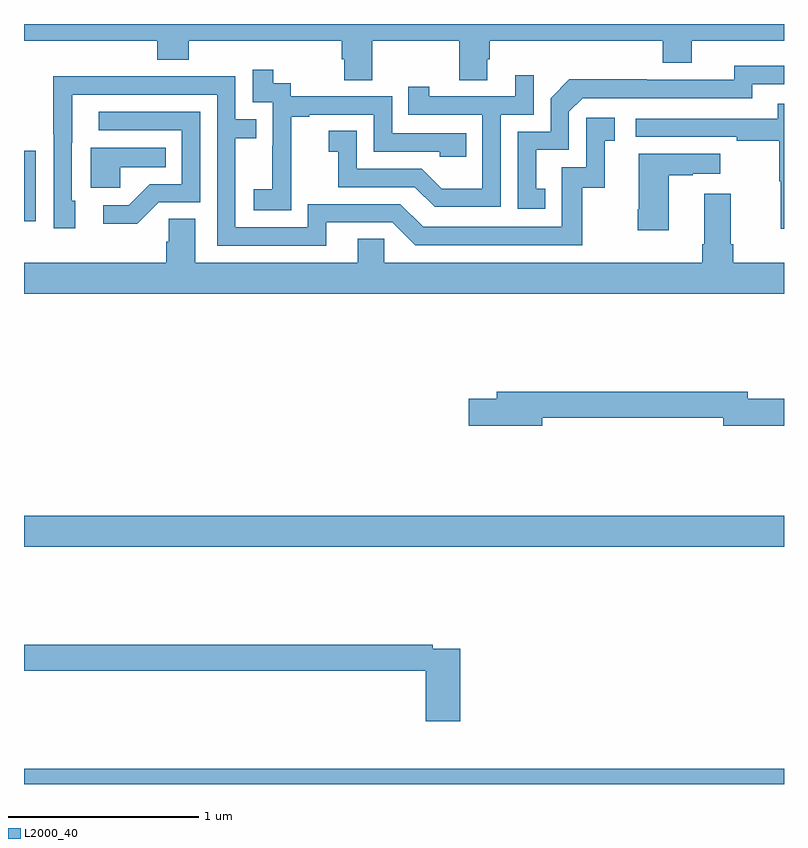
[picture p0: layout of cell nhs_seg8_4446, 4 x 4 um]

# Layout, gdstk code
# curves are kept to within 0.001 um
import gdstk
lib = gdstk.Library(unit=1e-6, precision=1e-09)
def R(c, l, rs):  # rectangles x0, y0, x1, y1
    for r in rs: c.add(gdstk.rectangle(r[:2], r[2:], *l))
def P(c, l, *ps):  # polygons
    for p in ps: c.add(gdstk.Polygon(p, *l))
L2000_40 = (2000, 40)

nhs_seg8_4446 = lib.new_cell('nhs_seg8_4446')
R(nhs_seg8_4446, L2000_40, [(381,1133.9,385,1133.98), (381,1135.148,385,1135.312), (381,1136.862,381.063,1137.232)])
P(nhs_seg8_4446, L2000_40, [(381,1137.812),(381.701,1137.812),(381.701,1137.713),(381.866,1137.713),(381.866,1137.812),(382.673,1137.812),(382.673,1137.714),(382.685,1137.714),(382.685,1137.604),(382.833,1137.604),(382.833,1137.812),(383.29,1137.812),(383.29,1137.604),(383.437,1137.604),(383.437,1137.714),(383.45,1137.714),(383.45,1137.812),(384.362,1137.812),(384.362,1137.695),(384.514,1137.695),(384.514,1137.812),(385,1137.812),(385,1137.9),(381,1137.9)],
  [(383.744,1137.033),(383.695,1137.033),(383.695,1137.237),(383.868,1137.237),(383.868,1137.438),(383.94,1137.51),(384.834,1137.51),(384.834,1137.582),(385,1137.582),(385,1137.679),(384.738,1137.679),(384.738,1137.606),(384.278,1137.606),(384.278,1137.608),(383.87,1137.608),(383.772,1137.51),(383.772,1137.333),(383.598,1137.333),(383.598,1136.928),(383.744,1136.928)],
  [(382.407,1137.127),(382.406,1137.127),(382.406,1137.411),(382.501,1137.411),(382.501,1137.423),(382.842,1137.423),(382.842,1137.228),(383.187,1137.228),(383.187,1137.201),(383.327,1137.201),(383.327,1137.324),(382.938,1137.324),(382.938,1137.519),(382.404,1137.519),(382.404,1137.588),(382.312,1137.588),(382.312,1137.658),(382.203,1137.658),(382.203,1137.489),(382.308,1137.489),(382.308,1137.26),(382.307,1137.26),(382.307,1137.031),(382.209,1137.031),(382.209,1136.921),(382.407,1136.921)],
  [(383.508,1137.423),(383.682,1137.423),(383.682,1137.631),(383.585,1137.631),(383.585,1137.519),(383.134,1137.519),(383.134,1137.571),(383.023,1137.571),(383.023,1137.423),(383.412,1137.423),(383.412,1137.034),(383.198,1137.034),(383.094,1137.138),(382.752,1137.138),(382.752,1137.337),(382.605,1137.337),(382.605,1137.227),(382.654,1137.227),(382.654,1137.042),(383.057,1137.042),(383.162,1136.937),(383.508,1136.937)],
  [(382.591,1136.856),(382.938,1136.856),(383.058,1136.736),(383.938,1136.736),(383.938,1137.039),(384.056,1137.039),(384.056,1137.285),(384.109,1137.285),(384.109,1137.406),(383.958,1137.406),(383.958,1137.147),(383.829,1137.147),(383.829,1136.832),(383.1,1136.832),(382.98,1136.952),(382.494,1136.952),(382.494,1136.829),(382.113,1136.829),(382.113,1137.298),(382.223,1137.298),(382.223,1137.399),(382.113,1137.399),(382.113,1137.624),(381.617,1137.624),(381.617,1137.626),(381.154,1137.626),(381.154,1137.319),(381.156,1137.319),(381.156,1136.826),(381.271,1136.826),(381.271,1136.97),(381.252,1136.97),(381.253,1137.528),(382.017,1137.528),(382.017,1136.733),(382.591,1136.733)],
  [(385,1137.481),(384.967,1137.481),(384.967,1137.402),(384.219,1137.402),(384.219,1137.306),(384.751,1137.306),(384.751,1137.286),(384.975,1137.286),(384.975,1137.072),(384.982,1137.072),(384.982,1136.823),(385,1136.823)],
  [(381.708,1136.961),(381.927,1136.961),(381.927,1137.438),(381.393,1137.438),(381.393,1137.342),(381.831,1137.342),(381.831,1137.057),(381.662,1137.057),(381.551,1136.946),(381.417,1136.946),(381.417,1136.849),(381.595,1136.849)],
  [(381.507,1137.146),(381.746,1137.146),(381.746,1137.25),(381.35,1137.25),(381.35,1137.038),(381.507,1137.038)],
  [(384.394,1137.103),(384.521,1137.103),(384.521,1137.113),(384.664,1137.113),(384.664,1137.217),(384.236,1137.217),(384.236,1136.926),(384.229,1136.926),(384.229,1136.814),(384.394,1136.814)],
  [(385,1136.644),(384.734,1136.644),(384.734,1136.74),(384.721,1136.74),(384.721,1137.007),(384.581,1137.007),(384.581,1136.74),(384.569,1136.74),(384.569,1136.644),(382.896,1136.644),(382.896,1136.771),(382.757,1136.771),(382.757,1136.644),(381.901,1136.644),(381.901,1136.876),(381.762,1136.876),(381.762,1136.753),(381.749,1136.753),(381.749,1136.644),(381,1136.644),(381,1136.48),(385,1136.48)],
  [(383.728,1135.828),(384.68,1135.828),(384.68,1135.786),(385,1135.786),(385,1135.928),(384.808,1135.928),(384.808,1135.964),(383.489,1135.964),(383.489,1135.928),(383.34,1135.928),(383.34,1135.786),(383.728,1135.786)],
  [(383.297,1134.612),(383.15,1134.612),(383.15,1134.632),(381,1134.632),(381,1134.496),(383.114,1134.496),(383.114,1134.231),(383.297,1134.231)])

lib.write_gds('nhs_seg8_4446.gds')
